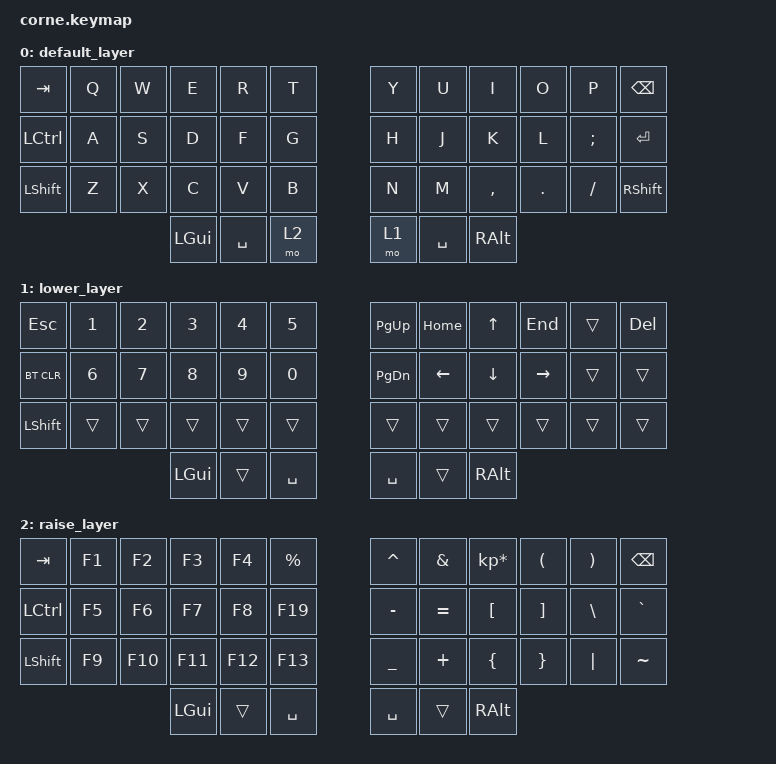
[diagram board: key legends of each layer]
/*
 * Copyright (c) 2020 The ZMK Contributors
 *
 * SPDX-License-Identifier: MIT
 */

#include <behaviors.dtsi>
#include <dt-bindings/zmk/keys.h>
#include <dt-bindings/zmk/bt.h>

/ {
    combos {
        compatible = "zmk,combos";

        new_combo {
            bindings = <&trans>;
            key-positions = <0>;
        };
    };

    keymap {
        compatible = "zmk,keymap";

        default_layer {
            // -----------------------------------------------------------------------------------------
            // |  TAB |  Q  |  W  |  E  |  R  |  T  |  |  Y  |  U   |  I  |  O  |  P  | BKSP |
            // | CTRL |  A  |  S  |  D  |  F  |  G  |  |  H  |  J   |  K  |  L  |  ;  | ENT  |
            // | SHFT |  Z  |  X  |  C  |  V  |  B  |  |  N  |  M   |  ,  |  .  |  /  | ESC  |
            //                    | GUI | LWR | SPC |  | ENT | RSE  | ALT |

            bindings = <
   &kp TAB   &kp Q   &kp W     &kp E      &kp R   &kp T   &kp Y      &kp U      &kp I    &kp O     &kp P         &kp BSPC
 &kp LCTRL   &kp A   &kp S     &kp D      &kp F   &kp G   &kp H      &kp J      &kp K    &kp L  &kp SEMI          &kp RET
 &kp LSHFT   &kp Z   &kp X     &kp C      &kp V   &kp B   &kp N      &kp M  &kp COMMA  &kp DOT  &kp FSLH  &kp RIGHT_SHIFT
                            &kp LGUI  &kp SPACE   &mo 2   &mo 1  &kp SPACE   &kp RALT
            >;
        };

        lower_layer {
            // -----------------------------------------------------------------------------------------
            // |  ESC |  1  |  2  |  3  |  4  |  5  |  | PU  | HOME| UP  | END |     | DEL  |
            // |      |  6  |  7  |  8  |  9  |  0  |  | PD  | LFT | DWN | RGT |     |      |
            // | SHFT |     |     |     |     |     |  |     |     |     |     |     |      |
            //                    | GUI |     | SPC |  | ENT |     | ALT |

            bindings = <
    &kp ESC  &kp N1  &kp N2    &kp N3  &kp N4     &kp N5  &kp PG_UP  &kp HOME    &kp UP    &kp END  &trans  &kp DEL
 &bt BT_CLR  &kp N6  &kp N7    &kp N8  &kp N9     &kp N0  &kp PG_DN  &kp LEFT  &kp DOWN  &kp RIGHT  &trans   &trans
  &kp LSHFT  &trans  &trans    &trans  &trans     &trans     &trans    &trans    &trans     &trans  &trans   &trans
                             &kp LGUI  &trans  &kp SPACE  &kp SPACE    &trans  &kp RALT
            >;
        };

        raise_layer {
            // -----------------------------------------------------------------------------------------
            // |  TAB |  !  |  @  |  #  |  $  |  %  |  |  ^  |  &  |  *  |  (  |  )  | BKSP |
            // | CTRL |     |     |     |     |     |  |  -  |  =  |  [  |  ]  |  \  |  `   |
            // | SHFT |     |     |     |     |     |  |  _  |  +  |  {  |  }  | "|" |  ~   |
            //                    | GUI |     | SPC |  | ENT |     | ALT |

            bindings = <
   &kp TAB  &kp F1   &kp F2    &kp F3   &kp F4  &kp PRCNT  &kp CARET   &kp AMPS  &kp KP_MULTIPLY  &kp LPAR  &kp RPAR   &kp BSPC
 &kp LCTRL  &kp F5   &kp F6    &kp F7   &kp F8    &kp F19  &kp MINUS  &kp EQUAL         &kp LBKT  &kp RBKT  &kp BSLH  &kp GRAVE
 &kp LSHFT  &kp F9  &kp F10   &kp F11  &kp F12    &kp F13  &kp UNDER   &kp PLUS         &kp LBRC  &kp RBRC  &kp PIPE  &kp TILDE
                             &kp LGUI   &trans  &kp SPACE  &kp SPACE     &trans         &kp RALT
            >;
        };
    };
};
